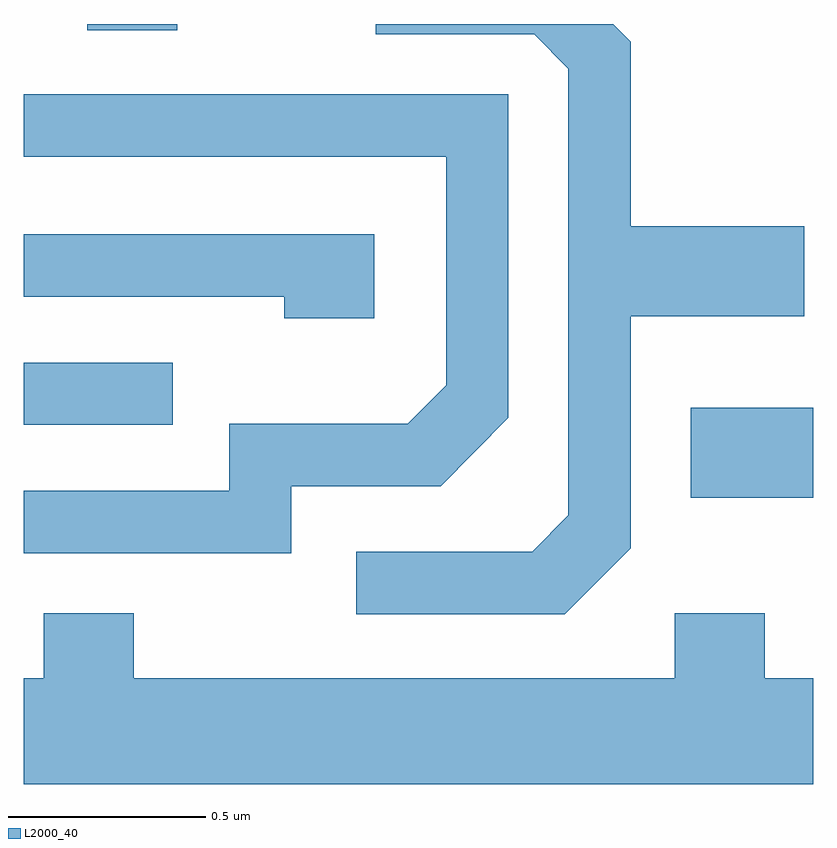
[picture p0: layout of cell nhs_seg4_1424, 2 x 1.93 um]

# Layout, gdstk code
import gdstk
lib = gdstk.Library(unit=1e-6, precision=1e-09)
def R(c, l, rs):  # rectangles x0, y0, x1, y1
    for r in rs: c.add(gdstk.rectangle(r[:2], r[2:], *l))
def P(c, l, *ps):  # polygons
    for p in ps: c.add(gdstk.Polygon(p, *l))
L2000_40 = (2000, 40)

nhs_seg4_1424 = lib.new_cell('nhs_seg4_1424')
R(nhs_seg4_1424, L2000_40, [(197.301,1308.781,197.611,1309.009), (195.611,1308.966,195.988,1309.124), (195.771,1309.966,195.999,1309.982)])
P(nhs_seg4_1424, L2000_40, [(197.149,1308.654),(197.149,1309.241),(197.589,1309.241),(197.589,1309.469),(197.149,1309.469),(197.149,1309.937),(197.104,1309.982),(196.503,1309.982),(196.503,1309.956),(196.904,1309.956),(196.991,1309.869),(196.991,1308.737),(196.899,1308.644),(196.453,1308.644),(196.453,1308.486),(196.982,1308.486)],
  [(196.289,1308.811),(196.667,1308.811),(196.839,1308.984),(196.839,1309.804),(195.611,1309.804),(195.611,1309.646),(196.681,1309.646),(196.681,1309.067),(196.584,1308.969),(196.131,1308.969),(196.131,1308.799),(195.611,1308.799),(195.611,1308.641),(196.289,1308.641)],
  [(196.499,1309.449),(195.611,1309.449),(195.611,1309.291),(196.271,1309.291),(196.271,1309.236),(196.499,1309.236)],
  [(197.611,1308.324),(197.489,1308.324),(197.489,1308.489),(197.261,1308.489),(197.261,1308.324),(195.889,1308.324),(195.889,1308.489),(195.661,1308.489),(195.661,1308.324),(195.611,1308.324),(195.611,1308.056),(197.611,1308.056)])

lib.write_gds('nhs_seg4_1424.gds')
